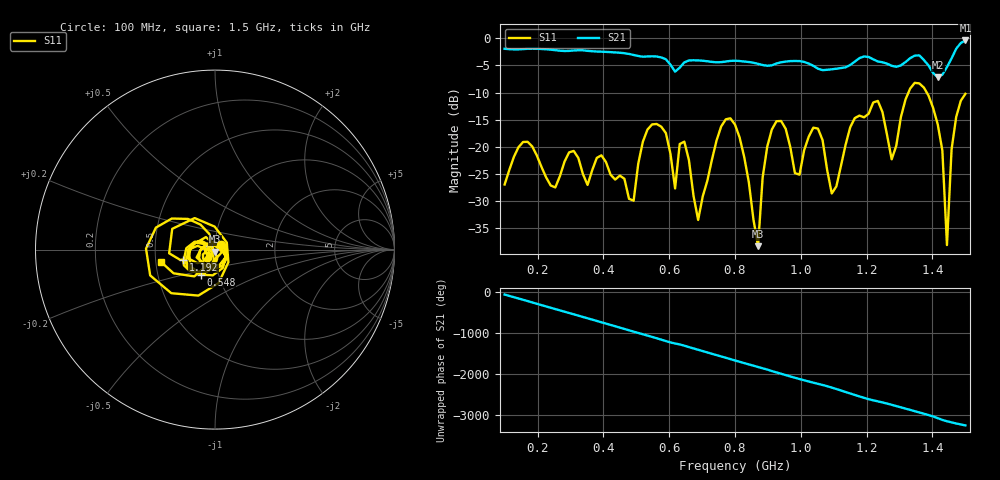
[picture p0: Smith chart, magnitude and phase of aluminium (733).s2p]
! NanoVNA-App
! Date: 2025-09-25 15:00:59
! Start: 100MHz Stop: 1,5GHz Points: 101
! S-Parameter data: F S11 S21 S12 S22
# Hz S RI R 50
!  Frequency  S11_Real  S11_Imag  S21_Real  S21_Imag  S12_Real  S12_Imag  S22_Real  S22_Imag
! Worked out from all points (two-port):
!   101 points, 100 MHz to 1.5 GHz, reference 50 ohm
!   highest |S21| = -0.38 dB at 1.5 GHz (marker M1); lowest = -7.2 dB at 1.416 GHz (marker M2)
!   |S21| within 3 dB of the highest: start of sweep to 519.9 MHz; 520.2 MHz to 565 MHz (44.82 MHz wide, 8.26 % of centre) (the widest 2 of 5)
!   lowest |S11| = -38.3 dB at 870 MHz (marker M3), VSWR 1.02, Z = 50 - j1.21 ohm
!   |S11| at or under -10 dB: start of sweep to 1.327 GHz; 1.383 GHz to end of sweep
!   S12 and S22 are empty: the file has one direction only
!   S11 on the Smith chart (normalised r, x): 100 MHz: 1.07, +0.06; 548 MHz: 0.82, -0.23; 1.192 GHz: 0.69, -0.08; 1.5 GHz: 0.53, -0.08
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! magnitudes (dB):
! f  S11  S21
! 100 MHz  -27.0  -1.9
! 156 MHz  -19.1  -2.0
! 338 MHz  -25.0  -2.2
! 492 MHz  -30.0  -3.1
! 548 MHz  -15.9  -3.3
! 576 MHz  -16.3  -3.5
! 618 MHz  -27.7  -6.1
! 646 MHz  -19.1  -4.4
! 688 MHz  -33.5  -4.1
! 800 MHz  -15.9  -4.1
! 870 MHz  -38.3  -4.7
! 912 MHz  -16.8  -5.0
! 996 MHz  -25.2  -4.2
! 1.038 GHz  -16.5  -5.1
! 1.094 GHz  -28.6  -5.7
! 1.192 GHz  -14.6  -3.3
! 1.276 GHz  -22.3  -5.1
! 1.346 GHz  -8.2  -3.2
! 1.416 GHz  -15.9  -7.2
! 1.444 GHz  -38.1  -5.3
! 1.458 GHz  -20.5  -3.7
! 1.5 GHz  -10.2  -0.4
